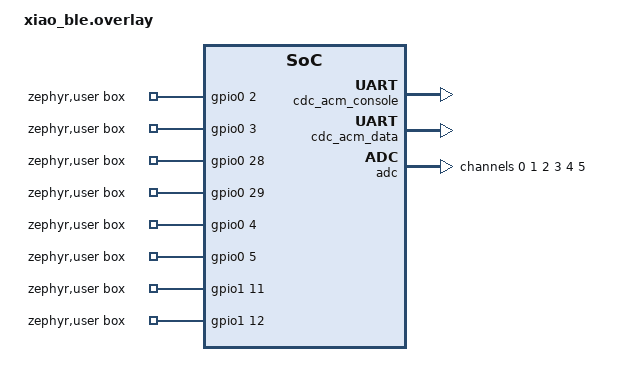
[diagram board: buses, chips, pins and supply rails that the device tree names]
/*
 * extio-zephyr on a Seeed XIAO nRF52840 (Zephyr board `xiao_ble`).
 *
 * Box pin n IS XIAO Dn, the same identity convention as the XIAO nRF54LM20A and
 * for the same reason: the board ships a `seeed,xiao-gpio` connector map
 * (seeed_xiao_connector.dtsi) that plays the role the Arduino header plays on
 * the MCXN947. Pads below are copied from that map, not from the silkscreen.
 *
 * BUT THIS XIAO IS NOT THE LM20A XIAO. That module's connector declares D0-D27;
 * THIS one declares D0-D10 and nothing else. Only 11 field pins exist, and the
 * map below is 14 entries rather than BOX_NPINS. That is deliberate and safe:
 * box_gpio.c builds its table with GPIO_DT_SPEC_GET_BY_IDX_OR(..., {0}), so
 * every index past the list gets a NULL port and box_gpio_reserved() refuses
 * it. Declaring 30 entries by inventing pads the module does not bring out
 * would be the "configuring one silently succeeds while doing nothing
 * electrically" failure this project keeps paying for.
 */

#include <zephyr/dt-bindings/gpio/gpio.h>
#include <zephyr/dt-bindings/adc/adc.h>
#include <zephyr/dt-bindings/adc/nrf-saadc.h>

/ {
	zephyr,user {
		box-gpios = <&gpio0  2 0>,   /*  0 = D0  (AIN0) */
			    <&gpio0  3 0>,   /*  1 = D1  (AIN1) */
			    <&gpio0 28 0>,   /*  2 = D2  (AIN4) */
			    <&gpio0 29 0>,   /*  3 = D3  (AIN5) */
			    <&gpio0  4 0>,   /*  4 = D4  (AIN2) */
			    <&gpio0  5 0>,   /*  5 = D5  (AIN3) */
			    <&gpio1 11 0>,   /*  6 = D6  */
			    <&gpio1 12 0>,   /*  7 = D7  */
			    <&gpio1 13 0>,   /*  8 = D8  */
			    <&gpio1 14 0>,   /*  9 = D9  */
			    <&gpio1 15 0>,   /* 10 = D10 */
			    /* The module's RGB LEDs, ACTIVE_LOW on this board, so
			     * the flag is what makes 1 = lit here as everywhere
			     * else. Off the D connector, so they cost no field pin
			     * -- and they give LED_PIN somewhere real to land
			     * instead of the Teensy #else's box pin 3 = D3. */
			    <&gpio0 26 GPIO_ACTIVE_LOW>,   /* 11 = LED red   */
			    <&gpio0 30 GPIO_ACTIVE_LOW>,   /* 12 = LED green */
			    <&gpio0  6 GPIO_ACTIVE_LOW>;   /* 13 = LED blue  */

		/* THE HANDHELD'S ONLY UI (box_status_led.h). Box pin indices for
		 * R, G, B -- indices into the map above, not pads, so the
		 * ACTIVE_LOW flags there are the single place the polarity is
		 * stated.
		 *
		 * Declaring this property is what makes the module compile in AND
		 * what makes it claim the pins, so a board that would rather keep
		 * its LEDs host-configurable simply leaves it out. On THIS board
		 * they cost no field pin (they are off the D connector), and a BLE
		 * peripheral is the one box in the fleet with nobody watching its
		 * console -- so the trade is free here and would not be elsewhere.
		 *
		 * Only a CONFIG_BOX_BLE_PERIPHERAL build claims them; the plain USB
		 * box built from this same board file leaves all three as ordinary
		 * outputs, because a box on a cable has a console to answer with. */
		box-status-rgb = [0b 0c 0d];   /* box pins 11, 12, 13 */

		/* TERSE ON PURPOSE, and this is a BLE constraint rather than taste.
		 *
		 * The silk map is published as ONE datapoint whose body must fit a
		 * single frame: `varlen + datalen <= DSERV_MSG_MAX_PAYLOAD` (109),
		 * and the name "extio/<box>/state/pins/silk" already spends ~25 of
		 * it. On USB and Ethernet that limit does not bite, because
		 * pub_silk_map() uses the VARIABLE-length frame builder and the
		 * framer carries whatever length it produces -- which is why the two
		 * DKs can afford "P3.05 (EXP00)" for thirty pins.
		 *
		 * A BLE PERIPHERAL CANNOT. dserv_ble.h freezes the radio unit as one
		 * unmodified 128-byte frame per ATT PDU, and the check is for EXACTLY
		 * that size -- a frame that is too SHORT is refused just as an
		 * oversized one is. Worth stating plainly because shortening these
		 * labels alone did NOT fix it: the verbose form built a ~290-byte
		 * frame and the terse form a ~105-byte one, and both were dropped at
		 * box_ble_periph_send()'s length check. The fix is in pub_silk_map(),
		 * which now asks box_uplink_max_frame() and emits a fixed-size frame
		 * when the transport demands one.
		 *
		 * These labels stay terse anyway, because that budget is real: the
		 * body must fit DSERV_MSG_MAX_PAYLOAD minus the datapoint name, and
		 * ~80 bytes leaves room for a longer box name before truncation
		 * starts eating pins. Pad numbers live in the board doc and in the
		 * box-gpios comments above; what a UI needs is the SILKSCREEN. */
		box-pin-silk = "D0","D1","D2","D3","D4","D5","D6","D7","D8","D9",
			       "D10","LEDr","LEDg","LEDb";

		/* ain channel k -> box pin, hex bytes (see the nRF52840 DK overlay).
		 * D0/D1/D4/D5 are AIN0..3 and D2/D3 are AIN4/5, so the analog order
		 * is NOT the pin order -- which is exactly why this property exists
		 * rather than being assumed. */
		box-ain-pins = [00 01 04 05 02 03];   /* box pins 0,1,4,5,2,3 */
		box-ain-silk = "D0/AIN0","D1/AIN1","D4/AIN2","D5/AIN3",
			       "D2/AIN4","D3/AIN5";
	};
};

/* THE GREEN LED SHARES A PAD WITH AIN6 (P0.30). Not a conflict today -- no
 * channel below uses AIN6 -- but adding one later would fight box pin 12. */

/* console FIRST, data SECOND: instance order sets USB interface numbering and
 * box_net_usb.c static-asserts it.
 *
 * NO BOX_DEFAULT_CONSOLE_MODE GATE for this board, and that is the right call
 * rather than an oversight: the XIAO has no debugger VCOM at all -- its single
 * USB connector IS the nRF USB device port -- so CDC is the only console it
 * has and the default already points there. Exactly the XIAO nRF54LM20A's
 * situation, and the opposite of both DKs.
 *
 * THE BOARD ALREADY DECLARES A CDC, and that is why this section is longer than
 * every other board's. xiao_ble_common.dtsi includes Zephyr's
 * boards/common/usb/cdc_acm_serial.dtsi, which adds `board_cdc_acm_uart` under
 * zephyr_udc0 and points five chosen entries at it. Left in place it takes
 * instance 0, our console becomes 1 and our data pipe becomes 2 -- and
 * box_net_usb.c's static assert catches exactly that:
 *
 *     "cdc_acm_data must be DT instance 1 (console is declared first)"
 *
 * which is the assert doing its job. So delete it and re-point what referenced
 * it. The nRF52840 DK needs none of this because its board files do not include
 * that dtsi; neither does the XIAO nRF54LM20A, whose zephyr,console is a (dead)
 * uart20 instead. Three Nordic boards, three different console origins.
 *
 * CONSEQUENCE WORTH KNOWING: with one USB port there is nowhere else for
 * Zephyr's printk/LOG to go, so it shares the console CDC with the box CLI and
 * the two interleave. On the DKs those live on separate connectors. */
/ {
	chosen {
		zephyr,console     = &cdc_acm_console;
		zephyr,shell-uart  = &cdc_acm_console;
		zephyr,uart-mcumgr = &cdc_acm_console;
		zephyr,bt-mon-uart = &cdc_acm_console;
		zephyr,bt-c2h-uart = &cdc_acm_console;
	};
};

&zephyr_udc0 {
	/delete-node/ board_cdc_acm_uart;

	cdc_acm_console: cdc_acm_uart0 {
		compatible = "zephyr,cdc-acm-uart";
	};
	cdc_acm_data: cdc_acm_uart1 {
		compatible = "zephyr,cdc-acm-uart";
		rx-fifo-size = <8192>;
		tx-fifo-size = <8192>;
	};
};

/*
 * ---- ANALOG: the nRF52840 SAADC ----
 *
 * Same driver and the same two audited constraints as the nRF52840 DK, which is
 * the point of using the same SoC: `reg` is a LOGICAL channel index and
 * `zephyr,input-positive` picks the pad (the driver selects
 * ADC_CONFIGURABLE_INPUTS), and oversampling is refused with -EINVAL for any
 * multi-channel sequence -- ours is multi-channel by construction, so the
 * honest menu is 1x.
 *
 * Reference is VDD/4 with gain 1/4, giving a 3.3 V full scale that matches the
 * module's rails -- the DK's choice, kept so a config moves between them.
 */
box_adc: &adc {
	status = "okay";
	#address-cells = <1>;
	#size-cells = <0>;

	channel@0 { reg = <0>; zephyr,gain = "ADC_GAIN_1_4";
		zephyr,reference = "ADC_REF_VDD_1_4"; zephyr,vref-mv = <3300>;
		zephyr,acquisition-time = <ADC_ACQ_TIME_DEFAULT>;
		zephyr,resolution = <12>; zephyr,input-positive = <NRF_SAADC_AIN0>; };
	channel@1 { reg = <1>; zephyr,gain = "ADC_GAIN_1_4";
		zephyr,reference = "ADC_REF_VDD_1_4"; zephyr,vref-mv = <3300>;
		zephyr,acquisition-time = <ADC_ACQ_TIME_DEFAULT>;
		zephyr,resolution = <12>; zephyr,input-positive = <NRF_SAADC_AIN1>; };
	channel@2 { reg = <2>; zephyr,gain = "ADC_GAIN_1_4";
		zephyr,reference = "ADC_REF_VDD_1_4"; zephyr,vref-mv = <3300>;
		zephyr,acquisition-time = <ADC_ACQ_TIME_DEFAULT>;
		zephyr,resolution = <12>; zephyr,input-positive = <NRF_SAADC_AIN2>; };
	channel@3 { reg = <3>; zephyr,gain = "ADC_GAIN_1_4";
		zephyr,reference = "ADC_REF_VDD_1_4"; zephyr,vref-mv = <3300>;
		zephyr,acquisition-time = <ADC_ACQ_TIME_DEFAULT>;
		zephyr,resolution = <12>; zephyr,input-positive = <NRF_SAADC_AIN3>; };
	channel@4 { reg = <4>; zephyr,gain = "ADC_GAIN_1_4";
		zephyr,reference = "ADC_REF_VDD_1_4"; zephyr,vref-mv = <3300>;
		zephyr,acquisition-time = <ADC_ACQ_TIME_DEFAULT>;
		zephyr,resolution = <12>; zephyr,input-positive = <NRF_SAADC_AIN4>; };
	channel@5 { reg = <5>; zephyr,gain = "ADC_GAIN_1_4";
		zephyr,reference = "ADC_REF_VDD_1_4"; zephyr,vref-mv = <3300>;
		zephyr,acquisition-time = <ADC_ACQ_TIME_DEFAULT>;
		zephyr,resolution = <12>; zephyr,input-positive = <NRF_SAADC_AIN5>; };
};
